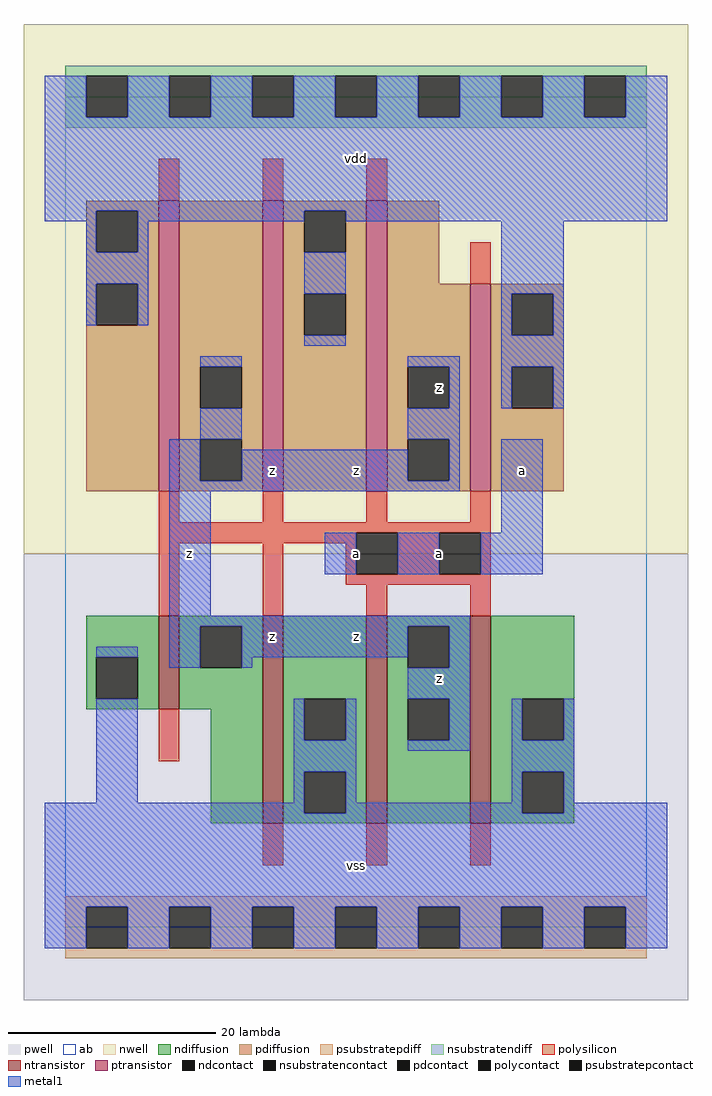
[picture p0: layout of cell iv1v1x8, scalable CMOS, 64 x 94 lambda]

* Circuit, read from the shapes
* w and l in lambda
.subckt iv1v1x8 a vdd vss z
M1 z a vss vss nfet w=9 l=2
M2 vss a z vss nfet w=20 l=2 m=3
M3 z a vdd vdd pfet w=28 l=2 m=3
M4 vdd a z vdd pfet w=20 l=2
.ends

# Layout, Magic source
magic
tech scmos
<< ab >>
rect 0 0 56 80
<< pwell >>
rect -4 -7 60 36
<< nwell >>
rect -4 36 60 87
<< polysilicon >>
rect 9 70 11 74
rect 19 70 21 74
rect 29 70 31 74
rect 39 62 41 66
rect 9 39 11 42
rect 19 39 21 42
rect 29 39 31 42
rect 39 39 41 42
rect 9 38 41 39
rect 9 37 28 38
rect 9 30 11 37
rect 19 30 21 37
rect 27 34 28 37
rect 32 34 36 38
rect 40 34 41 38
rect 27 33 41 34
rect 29 30 31 33
rect 39 30 41 33
rect 9 16 11 21
rect 19 6 21 10
rect 29 6 31 10
rect 39 6 41 10
<< ndiffusion >>
rect 2 26 9 30
rect 2 22 3 26
rect 7 22 9 26
rect 2 21 9 22
rect 11 29 19 30
rect 11 25 13 29
rect 17 25 19 29
rect 11 21 19 25
rect 14 10 19 21
rect 21 22 29 30
rect 21 18 23 22
rect 27 18 29 22
rect 21 15 29 18
rect 21 11 23 15
rect 27 11 29 15
rect 21 10 29 11
rect 31 29 39 30
rect 31 25 33 29
rect 37 25 39 29
rect 31 22 39 25
rect 31 18 33 22
rect 37 18 39 22
rect 31 10 39 18
rect 41 22 49 30
rect 41 18 44 22
rect 48 18 49 22
rect 41 15 49 18
rect 41 11 44 15
rect 48 11 49 15
rect 41 10 49 11
<< pdiffusion >>
rect 2 69 9 70
rect 2 65 3 69
rect 7 65 9 69
rect 2 62 9 65
rect 2 58 3 62
rect 7 58 9 62
rect 2 42 9 58
rect 11 54 19 70
rect 11 50 13 54
rect 17 50 19 54
rect 11 47 19 50
rect 11 43 13 47
rect 17 43 19 47
rect 11 42 19 43
rect 21 69 29 70
rect 21 65 23 69
rect 27 65 29 69
rect 21 61 29 65
rect 21 57 23 61
rect 27 57 29 61
rect 21 42 29 57
rect 31 62 36 70
rect 31 54 39 62
rect 31 50 33 54
rect 37 50 39 54
rect 31 47 39 50
rect 31 43 33 47
rect 37 43 39 47
rect 31 42 39 43
rect 41 61 48 62
rect 41 57 43 61
rect 47 57 48 61
rect 41 54 48 57
rect 41 50 43 54
rect 47 50 48 54
rect 41 42 48 50
<< metal1 >>
rect -2 78 2 82
rect 6 78 10 82
rect 14 78 18 82
rect 22 78 26 82
rect 30 78 34 82
rect 38 78 42 82
rect 46 78 50 82
rect 54 78 58 82
rect -2 69 58 78
rect -2 68 3 69
rect 2 65 3 68
rect 7 68 23 69
rect 7 65 8 68
rect 2 62 8 65
rect 2 58 3 62
rect 7 58 8 62
rect 27 68 58 69
rect 23 61 27 65
rect 23 56 27 57
rect 42 61 48 68
rect 42 57 43 61
rect 47 57 48 61
rect 13 54 17 55
rect 13 47 17 50
rect 10 43 13 47
rect 33 54 38 55
rect 37 50 38 54
rect 42 54 48 57
rect 42 50 43 54
rect 47 50 48 54
rect 33 47 38 50
rect 17 43 33 46
rect 37 43 38 47
rect 10 42 38 43
rect 10 30 14 42
rect 42 38 46 47
rect 25 34 28 38
rect 32 34 36 38
rect 40 34 46 38
rect 10 29 39 30
rect 3 26 7 27
rect 10 25 13 29
rect 17 26 33 29
rect 17 25 18 26
rect 37 25 39 29
rect 33 22 39 25
rect 3 12 7 22
rect 22 18 23 22
rect 27 18 28 22
rect 22 15 28 18
rect 37 18 39 22
rect 33 17 39 18
rect 43 18 44 22
rect 48 18 49 22
rect 22 12 23 15
rect -2 11 23 12
rect 27 12 28 15
rect 43 15 49 18
rect 43 12 44 15
rect 27 11 44 12
rect 48 12 49 15
rect 48 11 58 12
rect -2 2 58 11
rect -2 -2 2 2
rect 6 -2 10 2
rect 14 -2 18 2
rect 22 -2 26 2
rect 30 -2 34 2
rect 38 -2 42 2
rect 46 -2 50 2
rect 54 -2 58 2
<< ntransistor >>
rect 9 21 11 30
rect 19 10 21 30
rect 29 10 31 30
rect 39 10 41 30
<< ptransistor >>
rect 9 42 11 70
rect 19 42 21 70
rect 29 42 31 70
rect 39 42 41 62
<< polycontact >>
rect 28 34 32 38
rect 36 34 40 38
<< ndcontact >>
rect 3 22 7 26
rect 13 25 17 29
rect 23 18 27 22
rect 23 11 27 15
rect 33 25 37 29
rect 33 18 37 22
rect 44 18 48 22
rect 44 11 48 15
<< pdcontact >>
rect 3 65 7 69
rect 3 58 7 62
rect 13 50 17 54
rect 13 43 17 47
rect 23 65 27 69
rect 23 57 27 61
rect 33 50 37 54
rect 33 43 37 47
rect 43 57 47 61
rect 43 50 47 54
<< psubstratepcontact >>
rect 2 -2 6 2
rect 10 -2 14 2
rect 18 -2 22 2
rect 26 -2 30 2
rect 34 -2 38 2
rect 42 -2 46 2
rect 50 -2 54 2
<< nsubstratencontact >>
rect 2 78 6 82
rect 10 78 14 82
rect 18 78 22 82
rect 26 78 30 82
rect 34 78 38 82
rect 42 78 46 82
rect 50 78 54 82
<< psubstratepdiff >>
rect 0 2 56 3
rect 0 -2 2 2
rect 6 -2 10 2
rect 14 -2 18 2
rect 22 -2 26 2
rect 30 -2 34 2
rect 38 -2 42 2
rect 46 -2 50 2
rect 54 -2 56 2
rect 0 -3 56 -2
<< nsubstratendiff >>
rect 0 82 56 83
rect 0 78 2 82
rect 6 78 10 82
rect 14 78 18 82
rect 22 78 26 82
rect 30 78 34 82
rect 38 78 42 82
rect 46 78 50 82
rect 54 78 56 82
rect 0 77 56 78
<< labels >>
rlabel metal1 12 36 12 36 6 z
rlabel metal1 20 28 20 28 6 z
rlabel metal1 20 44 20 44 6 z
rlabel metal1 28 6 28 6 6 vss
rlabel metal1 28 28 28 28 6 z
rlabel metal1 28 36 28 36 6 a
rlabel metal1 36 36 36 36 6 a
rlabel metal1 36 24 36 24 6 z
rlabel metal1 28 44 28 44 6 z
rlabel pdcontact 36 52 36 52 6 z
rlabel metal1 28 74 28 74 6 vdd
rlabel metal1 44 44 44 44 6 a
<< end >>
